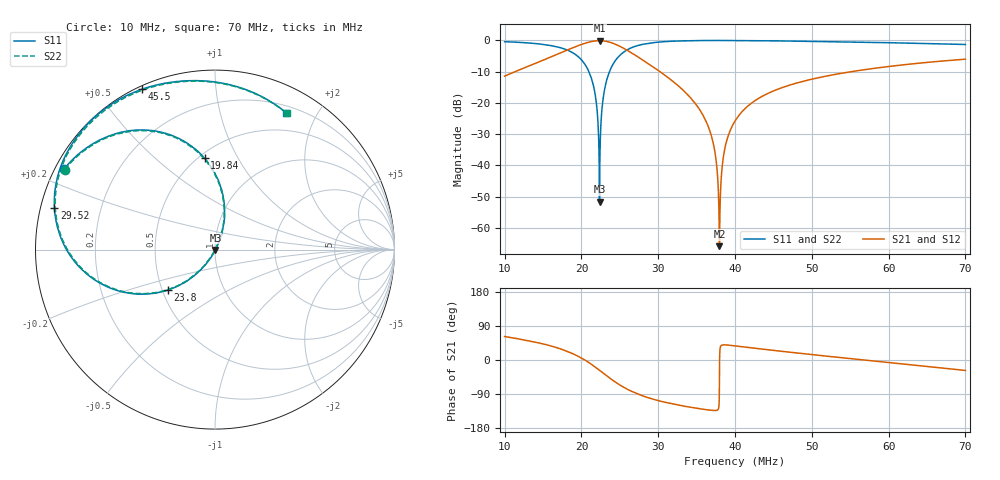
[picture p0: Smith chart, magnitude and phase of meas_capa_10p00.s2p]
#  HZ  S  RI  R  50.00
! Rohde & Schwarz ZVT8 8Ports - Version 4.11 - 1300.0000k08 SN: 100242
! Date: 2026-07-13 13:45:15
! Measurements: S11 S21 S12 S22
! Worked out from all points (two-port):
!   3001 points, 10 MHz to 70 MHz, reference 50 ohm
!   highest |S21| = -0.10 dB at 22.36 MHz (marker M1); lowest = -65.9 dB at 37.98 MHz (marker M2)
!   |S21| within 3 dB of the highest: 18.15 MHz to 25.91 MHz (7.756 MHz wide, 35.2 % of centre)
!   lowest |S11| = -51.6 dB at 22.36 MHz (marker M3), VSWR 1.01, Z = 50.2 - j0.144 ohm
!   |S11| at or under -10 dB: 20.97 MHz to 23.66 MHz (2.689 MHz wide, 12.1 % of centre)
!   |S22| runs from -61.9 to -0.1 dB; largest |S21 - S12| = 0.0017
!   S11 on the Smith chart (normalised r, x): 10 MHz: 0.03, +0.25; 19.84 MHz: 0.53, +0.74; 23.8 MHz: 0.53, -0.27; 29.52 MHz: 0.04, +0.13; 45.5 MHz: 0.01, +0.65; 70 MHz: 0.28, +1.61
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1e7  -0.8393 0.4491  0.126 0.2357  0.1264 0.2355  -0.8366 0.4461
1.662e7  -0.4409 0.6659  0.4857 0.3226  0.4861 0.3223  -0.4411 0.6615
1.984e7  -0.0581 0.5095  0.8406 0.1029  0.8406 0.1018  -0.0606 0.5064
2e7  -0.0404 0.4871  0.8574 0.0769  0.8566 0.0768  -0.0415 0.4853
2.154e7  0.0532 0.1881  0.9372 -0.247  0.9362 -0.2469  0.0507 0.1868
2.236e7  0.0022 -0.00143  0.8798 -0.4517  0.8787 -0.451  -0.000319 -0.000742
2.256e7  -0.0233 -0.0453  0.8528 -0.4983  0.8521 -0.4975  -0.0256 -0.043
2.298e7  -0.0921 -0.1245  0.7815 -0.5863  0.7813 -0.5857  -0.0927 -0.1222
2.38e7  -0.2637 -0.2254  0.6026 -0.7039  0.6021 -0.7037  -0.263 -0.2229
2.646e7  -0.7504 -0.1028  0.0891 -0.6323  0.0891 -0.632  -0.7463 -0.1012
2.952e7  -0.8949 0.2333  -0.0905 -0.3522  -0.0907 -0.3524  -0.8899 0.2329
3e7  -0.8953 0.2776  -0.0969 -0.3162  -0.0973 -0.3169  -0.8903 0.2774
3.608e7  -0.7497 0.6541  -0.0361 -0.0422  -0.0361 -0.0422  -0.7438 0.6513
3.724e7  -0.7099 0.6991  -0.0141 -0.015  -0.0141 -0.0149  -0.7038 0.6966
3.778e7  -0.6912 0.7183  -0.0035 -0.00404  -0.00351 -0.00404  -0.685 0.7156
3.798e7  -0.6841 0.7255  0.000441 -0.000255  0.000455 -0.000247  -0.6781 0.7221
3.874e7  -0.6571 0.7495  0.0155 0.013  0.0155 0.0129  -0.6507 0.7465
4e7  -0.6107 0.7863  0.0408 0.0311  0.0408 0.031  -0.6054 0.7825
4.55e7  -0.4047 0.8944  0.1494 0.0674  0.1495 0.0673  -0.4013 0.8895
5e7  -0.2375 0.933  0.2317 0.0593  0.2317 0.0591  -0.2355 0.93
6e7  0.1116 0.9108  0.3792 -0.0449  0.3788 -0.0451  0.1133 0.9081
7e7  0.3967 0.7624  0.444 -0.2314  0.4442 -0.2313  0.3994 0.7601
